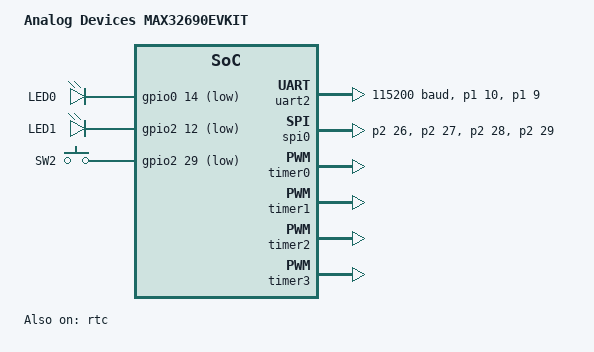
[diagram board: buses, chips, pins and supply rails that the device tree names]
/*
 * Copyright (c) 2023 Analog Devices, Inc.
 *
 * SPDX-License-Identifier: Apache-2.0
 */
 
/dts-v1/;
 
#include <adi/max32690.dtsi> 
#include <adi/max32690-pinctrl.dtsi>

/ {
     model = "Analog Devices MAX32690EVKIT";
     compatible = "adi,max32690evkit";

     chosen {
        zephyr,console = &uart2;
        zephyr,shell-uart = &uart2;
        zephyr,sram = &sram0;
        zephyr,flash = &flash0;
    };


     leds {
        compatible = "gpio-leds";
        red_led: led_0 {
            gpios = <&gpio0 14 GPIO_ACTIVE_LOW>;
            label = "LED0";
        };
        green_led: led_1 {
            gpios = <&gpio2 12 GPIO_ACTIVE_LOW>;
            label = "LED1";
        };   
     };

     buttons {
        compatible = "gpio-keys";
        pb0: pb0 {
            /* SW2 on EVKIT connects to GPIO4 which does not support interrupts,
             * so advised to fit jumper on JH5 to connect SW2 (P4.0) to P2.29 
             */
            gpios = <&gpio2 29 (GPIO_PULL_UP | GPIO_ACTIVE_LOW)>;
            label = "SW2";
        };
    };

     aliases {
        led0 = &red_led;
        led1 = &green_led;
        sw0 = &pb0;
        rtc = &rtc;
     };
};

&clk_ipo {
    status = "okay";
};

/*
 * ERTCO requires for RTC
 */
&clk_ertco {
    status = "okay";
};

&gpio0 { 
    status = "okay";
};

&gpio1 { 
    status = "okay";
};

&gpio2 { 
    status = "okay";
};

&uart2 {
	pinctrl-0 = <&uart2a_tx_p1_10 &uart2a_rx_p1_9>;
	pinctrl-names = "default";
	current-speed = <115200>;
	parity = "none";
	status = "okay";
};

&spi0 {
	pinctrl-0 = <&spi0b_ss1_p2_26 &spi0b_miso_p2_27
            &spi0b_mosi_p2_28 &spi0b_sck_p2_29>;
	pinctrl-names = "default";
    status = "okay";
};

&dma0 {
	status = "okay";
};

&clk_ipo {
	status = "okay";
};

&rtc {
    status = "okay";
    alarms-count = <1>;
};

&timer0 {
	status = "okay";
	
	pwm0: pwm {
		status = "okay";
		pinctrl-0 = <&tmr0c_ioa_p0_4>;
		pinctrl-names = "default";
	};
};

&timer1 {
	status = "okay";

	pwm1: pwm {
		status = "disabled";
		pinctrl-0 = <&tmr1c_ioa_p0_15>;
		pinctrl-names = "default";
	};
};

&timer2 {
	status = "okay";

	pwm2: pwm {
		status = "disabled";
		pinctrl-0 = <&tmr2c_ioa_p2_20>;
		pinctrl-names = "default";
	};
};

&timer3 {
	status = "okay";

	pwm3: pwm {
		status = "disabled";
		pinctrl-0 = <&tmr3c_ioa_p2_30>;
		pinctrl-names = "default";
	};
};
